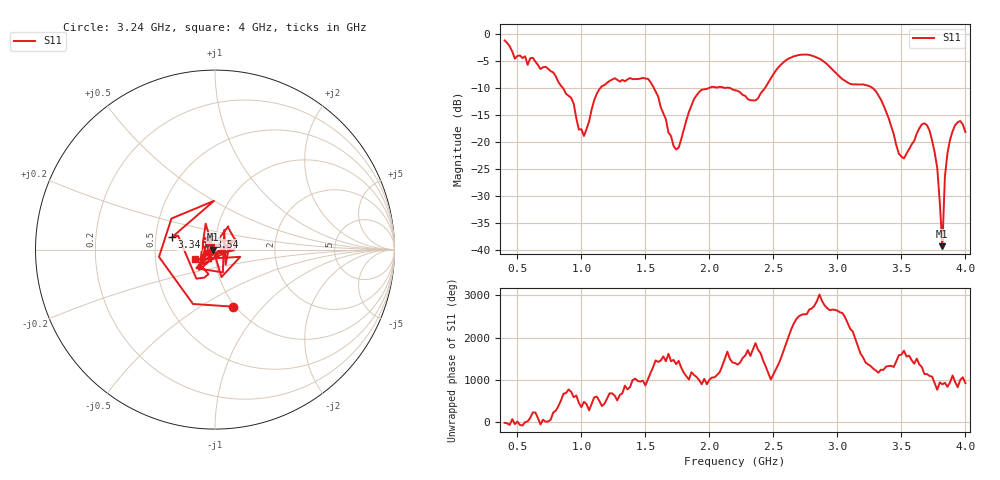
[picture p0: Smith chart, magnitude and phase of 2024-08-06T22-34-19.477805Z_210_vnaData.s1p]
!Created with skrf (http://scikit-rf.org).
# Hz S RI R 50.0
!freq ReS11 ImS11
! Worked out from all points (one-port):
!   181 points, 400 MHz to 4 GHz, reference 50 ohm
!   lowest |S11| = -39.3 dB at 3.82 GHz (marker M1), VSWR 1.02, Z = 48.9 + j0.0262 ohm
!   |S11| at or under -10 dB: 857.4 MHz to 1.146 GHz (289 MHz wide, 28.8 % of centre); 1.567 GHz to 1.991 GHz (424.4 MHz wide, 23.9 % of centre); 3.277 GHz to end of sweep (the widest 3 of 4)
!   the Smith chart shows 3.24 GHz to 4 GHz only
!   S11 on the Smith chart (normalised r, x): 3.24 GHz: 0.98, -0.70; 3.34 GHz: 0.61, +0.09; 3.54 GHz: 0.93, +0.14; 4 GHz: 0.79, -0.09
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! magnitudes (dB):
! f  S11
! 400 MHz  -1.1
! 480 MHz  -4.5
! 860 MHz  -10.1
! 1.02 GHz  -18.8
! 1.14 GHz  -10.2
! 1.3 GHz  -8.8
! 1.52 GHz  -8.3
! 1.72 GHz  -20.7
! 1.76 GHz  -21.0
! 1.92 GHz  -10.7
! 2.2 GHz  -10.4
! 2.36 GHz  -12.2
! 2.66 GHz  -4.1
! 2.86 GHz  -4.5
! 3.1 GHz  -9.2
! 3.24 GHz  -9.5
! 3.34 GHz  -12.1
! 3.48 GHz  -22.1
! 3.54 GHz  -22.1
! 3.56 GHz  -21.3
! 3.66 GHz  -16.7
! 3.72 GHz  -17.9
! 3.78 GHz  -24.7
! 3.82 GHz  -39.3
! 3.84 GHz  -26.4
! 3.88 GHz  -19.5
! 3.94 GHz  -16.3
! 4 GHz  -18.1
